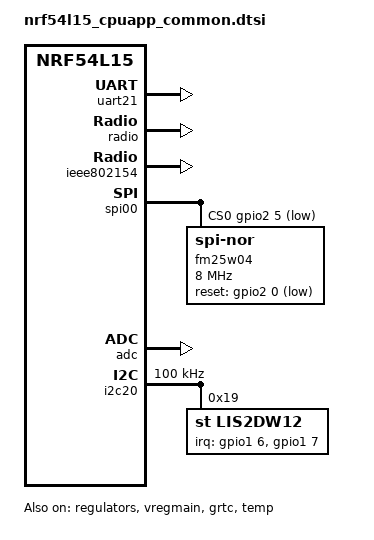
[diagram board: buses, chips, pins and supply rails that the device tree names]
/*
 * Copyright (c) 2024 Nordic Semiconductor ASA
 *
 * SPDX-License-Identifier: Apache-2.0
 */

/* This file is common to the secure and non-secure domain */

#include <nordic/nrf54l15_cpuapp.dtsi>
#include "k7p54l_nrf54l15-common.dtsi"

/ {
	chosen {
		zephyr,console = &uart21;
		zephyr,shell-uart = &uart21;
		zephyr,uart-mcumgr = &uart21;
		zephyr,bt-mon-uart = &uart21;
		zephyr,bt-c2h-uart = &uart21;
		zephyr,flash-controller = &rram_controller;
		zephyr,flash = &cpuapp_rram;
		zephyr,ieee802154 = &ieee802154;
	};
};

&cpuapp_sram {
	status = "okay";
};

&lfxo {
	load-capacitors = "external";
	/* load-capacitors = "internal"; */
	/* load-capacitance-femtofarad = <15500>; */
};

&hfxo {
	load-capacitors = "external";
	/* load-capacitors = "internal"; */
	/* load-capacitance-femtofarad = <15000>; */
};

&regulators {
	status = "okay";
};

&vregmain {
	status = "okay";
	regulator-initial-mode = <NRF5X_REG_MODE_DCDC>;
};

&grtc {
	owned-channels = <0 1 2 3 4 5 6 7 8 9 10 11>;
	/* Channels 7-11 reserved for Zero Latency IRQs, 3-4 for FLPR */
	child-owned-channels = <3 4 7 8 9 10 11>;
	status = "okay";
};

&cpuapp_rram {
	partitions {
		compatible = "fixed-partitions";
		#address-cells = <1>;
		#size-cells = <1>;
		boot_partition: partition@0 {
			label = "mcuboot";
			reg = <0x0 DT_SIZE_K(64)>;
		};
		slot0_partition: partition@10000 {
			label = "image-0";
			reg = <0x10000 DT_SIZE_K(324)>;
		};
		slot0_ns_partition: partition@61000 {
			label = "image-0-nonsecure";
			reg = <0x61000 DT_SIZE_K(324)>;
		};
		slot1_partition: partition@b2000 {
			label = "image-1";
			reg = <0xb2000 DT_SIZE_K(324)>;
		};
		slot1_ns_partition: partition@103000 {
			label = "image-1-nonsecure";
			reg = <0x103000 DT_SIZE_K(324)>;
		};
		/* 32k from 0x154000 to 0x15bfff reserved for TF-M partitions */
		storage_partition: partition@15c000 {
			label = "storage";
			reg = <0x15c000 DT_SIZE_K(36)>;
		};
	};
};

&uart21 {
	status = "okay";
};

&gpio0 {
	status = "okay";
};

&gpio1 {
	status = "okay";
};

&gpio2 {
	status = "okay";
};

&gpiote20 {
	status = "okay";
};

&gpiote30 {
	status = "okay";
};

&radio {
	status = "okay";
};

&ieee802154 {
	status = "okay";
};

&temp {
	status = "okay";
};

&clock {
	status = "okay";
};

&spi00 {
	status = "okay";
	cs-gpios = <&gpio2 5 GPIO_ACTIVE_LOW>;
	pinctrl-0 = <&spi00_default>;
	pinctrl-1 = <&spi00_sleep>;
	pinctrl-names = "default", "sleep";

	fm25w04: fm25w04@0 {
		compatible = "jedec,spi-nor";
		status = "okay";
		reg = <0>;
		spi-max-frequency = <8000000>;
		jedec-id = [a1 28 13];
		reset-gpios = <&gpio2 0 GPIO_ACTIVE_LOW>;
		sfdp-bfp = [
			e5 20 f1 ff  ff ff ff 03  44 eb 08 6b  08 3b 80 bb
			fe ff ff ff  ff ff 00 00  ff ff 08 eb  0c 20 0f 52
			10 d8 00 00  ff ff ff ff  ff ff ff ff  ff ff ff ff
			ff ff ff ff  ff ff ff ff  ff ff ff ff  ff ff ff ff
		];
		size = <524288>;
		has-dpd;
		t-enter-dpd = <10000>;
		t-exit-dpd = <35000>;
	};
};

&adc {
	status = "okay";
};

&i2c20 {
	status = "okay";
	pinctrl-0 = <&i2c20_default>;
	pinctrl-1 = <&i2c20_sleep>;
	pinctrl-names = "default", "sleep";
	clock-frequency = <I2C_BITRATE_STANDARD>;

	lis2dw12: lis2dw12@19 {
		compatible = "st,lis2dw12";
		reg = <0x19>;
		irq-gpios = <&gpio1 6 GPIO_ACTIVE_HIGH>, <&gpio1 7 GPIO_ACTIVE_HIGH>;
		status = "okay";
	};
};
